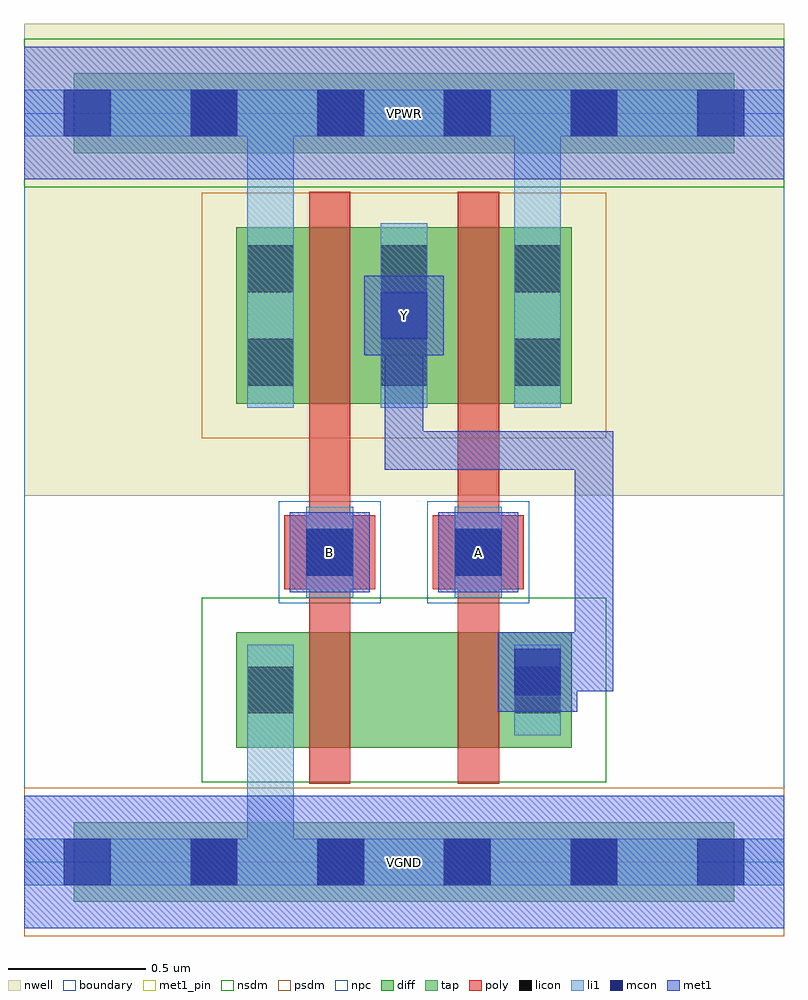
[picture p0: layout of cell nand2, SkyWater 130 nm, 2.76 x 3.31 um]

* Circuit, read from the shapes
.subckt nand2 A B VGND VPWR Y
XM1 n1 B VGND VGND sky130_fd_pr__nfet_01v8 w=0.42 l=0.15
XM2 Y A n1 VGND sky130_fd_pr__nfet_01v8 w=0.42 l=0.15
XM3 Y B VPWR VPWR sky130_fd_pr__pfet_01v8 w=0.64 l=0.15
XM4 VPWR A Y VPWR sky130_fd_pr__pfet_01v8 w=0.64 l=0.15
.ends

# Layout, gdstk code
import gdstk
lib = gdstk.Library(unit=1e-6, precision=1e-09)
def R(c, l, rs):  # rectangles x0, y0, x1, y1
    for r in rs: c.add(gdstk.rectangle(r[:2], r[2:], *l))
def A(c, l, x, y, w, h, nx, ny, dx, dy):  # array of equal rectangles
    R(c, l, [(x+i*dx, y+j*dy, x+i*dx+w, y+j*dy+h) for i in range(nx) for j in range(ny)])
nwell = (64, 20)
diff = (65, 20)
tap = (65, 44)
poly = (66, 20)
licon = (66, 44)
li1 = (67, 20)
mcon = (67, 44)
met1_pin = (68, 16)
met1 = (68, 20)
nsdm = (93, 44)
psdm = (94, 20)
npc = (95, 20)
boundary = (235, 4)

nand2 = lib.new_cell('nand2')
R(nand2, nwell, [(0,1.33,2.76,3.045)])
R(nand2, diff, [(0.77,0.415,1.99,0.835), (0.77,1.665,1.99,2.305)])
R(nand2, tap, [(0.18,-0.145,2.58,0.145), (0.18,2.575,2.58,2.865)])
R(nand2, poly, [(1.035,0.285,1.185,2.435), (1.575,0.285,1.725,2.435), (0.945,0.99,1.275,1.26), (1.485,0.99,1.815,1.26)])
A(nand2, licon, 0.605, -0.085, 0.17, 0.17, 4, 2, 0.46, 2.72)
A(nand2, licon, 0.81, 1.73, 0.17, 0.17, 3, 2, 0.485, 0.34)
R(nand2, licon, [(0.81,0.54,0.98,0.71), (1.78,0.54,1.95,0.71), (1.025,1.04,1.195,1.21), (1.565,1.04,1.735,1.21)])
A(nand2, li1, 0.81, 1.65, 0.17, 0.67, 3, 1, 0.485, 0)
R(nand2, li1, [(0,-0.085,2.76,0.085), (0.81,-0.085,0.98,0.79), (0.81,0.46,0.98,0.79), (1.78,0.46,1.95,0.79), (1.025,0.96,1.195,1.29), (1.565,0.96,1.735,1.29), (0.81,1.65,0.98,2.805), (1.78,1.65,1.95,2.805), (0,2.635,2.76,2.805)])
A(nand2, mcon, 0.145, -0.085, 0.17, 0.17, 6, 2, 0.46, 2.72)
R(nand2, mcon, [(1.78,0.605,1.95,0.775), (1.025,1.04,1.195,1.21), (1.565,1.04,1.735,1.21), (1.295,1.9,1.465,2.07)])
R(nand2, met1_pin, [(0,-0.24,2.76,0.24), (0.965,0.98,1.255,1.27), (1.505,0.98,1.795,1.27), (1.235,1.84,1.525,2.13), (0,2.48,2.76,2.96)])
R(nand2, met1, [(0,-0.24,2.76,0.24), (1.72,0.545,2.01,0.835), (1.795,0.62,2.025,0.76), (1.885,0.62,2.14,0.76), (2,0.62,2.14,1.565), (0.965,0.98,1.255,1.27), (1.505,0.98,1.795,1.27), (1.31,1.425,1.45,2.025), (1.31,1.425,2.14,1.565), (1.235,1.84,1.525,2.13), (1.31,1.885,1.45,2.025), (0,2.48,2.76,2.96)])
R(nand2, nsdm, [(0.645,0.29,2.115,0.96), (0,2.45,2.76,2.99)])
R(nand2, psdm, [(0,-0.27,2.76,0.27), (0.645,1.54,2.115,2.43)])
R(nand2, npc, [(0.925,0.94,1.295,1.31), (1.465,0.94,1.835,1.31)])
R(nand2, boundary, [(0,0,2.76,2.72)])
nand2.add(gdstk.Label('A', (1.65,1.125), layer=68, texttype=5))
nand2.add(gdstk.Label('B', (1.11,1.125), layer=68, texttype=5))
nand2.add(gdstk.Label('Y', (1.38,1.985), layer=68, texttype=5))
nand2.add(gdstk.Label('VPWR', (1.38,2.72), layer=68, texttype=5))
nand2.add(gdstk.Label('VGND', (1.38,0), layer=68, texttype=5))
nand2.add(gdstk.Label('A', (1.65,1.125), layer=68, texttype=16))
nand2.add(gdstk.Label('B', (1.11,1.125), layer=68, texttype=16))
nand2.add(gdstk.Label('Y', (1.38,1.985), layer=68, texttype=16))
nand2.add(gdstk.Label('VPWR', (1.38,2.72), layer=68, texttype=16))
nand2.add(gdstk.Label('VGND', (1.38,0), layer=68, texttype=16))

lib.write_gds('nand2.gds')
